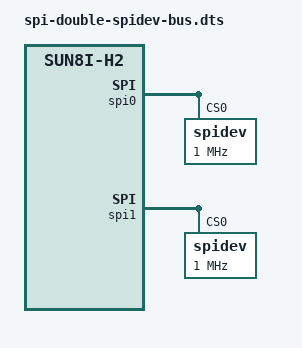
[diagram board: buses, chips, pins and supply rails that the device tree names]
/dts-v1/;
/plugin/;

/ {
	compatible = "xunglong,orangepi-zero", "allwinner,sun8i-h2-plus";
	fragment@0 {
		target = <&pio>;
		__overlay__ {
			spi0_cs1: spi0_cs1 {
				pins = "PA21";
				function = "gpio_out";
				output-high;
			};

			spi1_cs1: spi1_cs1 {
				pins = "PA10";
				function = "gpio_out";
				output-high;
			};
		};
	};
	fragment@1 {
		target = <&spi0>;
		__overlay__ {
			#address-cells = <1>;
			#size-cells = <0>;
			status = "okay";
			pinctrl-names = "default", "default";
			pinctrl-1 = <&spi0_cs1>;
			cs-gpios = <0>, <&pio 0 21 0>; /* PA21 */
			
			spidev@0 {
				reg = <0>; /* Chip Select 0 */
				#compatible = "spidev";
				spi-max-frequency = <1000000>;
				status = "okay";
			};
		};
	};

	fragment@2 {
		target = <&spi1>;
		__overlay__ {
			#address-cells = <1>;
			#size-cells = <0>;
			status = "okay";
			pinctrl-names = "default", "default";
			pinctrl-1 = <&spi1_cs1>;
			cs-gpios = <0>, <&pio 0 10 0>; /* PA10 */

			spidev@1 {
				reg = <0>; /* Chip Select 0 */
				#compatible = "spidev";
				spi-max-frequency = <1000000>;
				status = "okay";
			};
		};
	};
};
